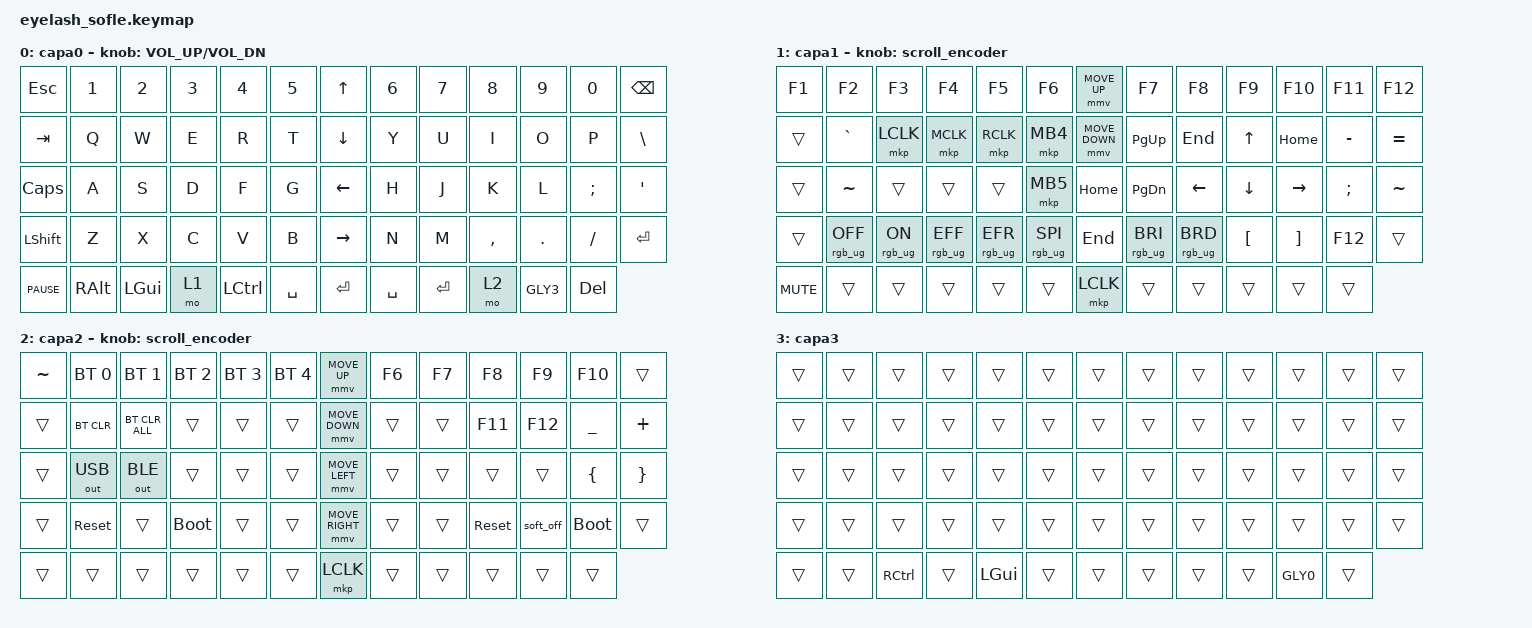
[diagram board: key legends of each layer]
#define ZMK_POINTING_DEFAULT_MOVE_VAL 1200  // 600
#define ZMK_POINTING_DEFAULT_SCRL_VAL 25   // 10

#include <input/processors.dtsi>
#include <zephyr/dt-bindings/input/input-event-codes.h>
#include <behaviors.dtsi>
#include <dt-bindings/zmk/bt.h>
#include <dt-bindings/zmk/keys.h>
#include <dt-bindings/zmk/outputs.h>
#include <dt-bindings/zmk/pointing.h>
#include <dt-bindings/zmk/rgb.h>

&mmv_input_listener { input-processors = <&zip_xy_scaler 2 1>; };

&msc_input_listener { input-processors = <&zip_scroll_scaler 2 1>; };

&msc {
    acceleration-exponent = <1>;      // 0
    time-to-max-speed-ms = <100>;       // 300
    delay-ms = <0>;                   // 0
};

&mmv {
    time-to-max-speed-ms = <500>;
    acceleration-exponent = <1>;
    trigger-period-ms = <16>;
};

/ {
    scroll_encoder: scroll_encoder {
        compatible = "zmk,behavior-sensor-rotate";
        #sensor-binding-cells = <0>;
        bindings = <&msc SCRL_DOWN>, <&msc SCRL_UP>;

        tap-ms = <100>;
    };

    behaviors {
    };

    macros {
        GLY3: GLY3 {
            compatible = "zmk,behavior-macro";
            #binding-cells = <0>;
            bindings = <&tog 3 &bt BT_SEL 2>;
            label = "GLY3";
        };

        GLY0: GL0 {
            compatible = "zmk,behavior-macro";
            #binding-cells = <0>;
            bindings = <&tog 3 &bt BT_SEL 1>;
            label = "GL0";
        };
    };

    keymap {
        compatible = "zmk,keymap";

        layer_0 {
            bindings = <
&kp ESC      &kp N1         &kp N2        &kp N3  &kp N4            &kp N5       &kp UP_ARROW     &kp N6     &kp N7     &kp N8     &kp N9   &kp N0      &kp BACKSPACE
&kp TAB      &kp Q          &kp W         &kp E   &kp R             &kp T        &kp DOWN_ARROW   &kp Y      &kp U      &kp I      &kp O    &kp P       &kp BSLH
&kp CAPS     &kp A          &kp S         &kp D   &kp F             &kp G        &kp LEFT_ARROW   &kp H      &kp J      &kp K      &kp L    &kp SEMI    &kp APOS
&kp LSHFT    &kp Z          &kp X         &kp C   &kp V             &kp B        &kp RIGHT_ARROW  &kp N      &kp M      &kp COMMA  &kp DOT  &kp FSLH    &kp ENTER
&kp C_PAUSE  &kp RIGHT_ALT  &kp LEFT_GUI  &mo 1   &kp LEFT_CONTROL  &kp SPACE    &kp ENTER        &kp SPACE  &kp ENTER  &mo 2      &GLY3    &kp DELETE
            >;

            sensor-bindings = <&inc_dec_kp C_VOLUME_UP C_VOL_DN>;
            display-name = "capa0";
            label = "capa0";
        };

        layer_1 {
            bindings = <
&kp F1      &kp F2           &kp F3          &kp F4           &kp F5           &kp F6             &mmv MOVE_UP    &kp F7           &kp F8           &kp F9            &kp F10            &kp F11        &kp F12
&trans      &kp GRAVE        &mkp LCLK       &mkp MCLK        &mkp RCLK        &mkp MB4           &mmv MOVE_DOWN  &kp PG_UP        &kp END          &kp UP            &kp HOME           &kp MINUS      &kp EQUAL
&trans      &kp TILDE        &trans          &trans           &trans           &mkp MB5           &kp HOME        &kp PG_DN        &kp LEFT         &kp DOWN          &kp RIGHT          &kp SEMICOLON  &kp TILDE
&trans      &rgb_ug RGB_OFF  &rgb_ug RGB_ON  &rgb_ug RGB_EFF  &rgb_ug RGB_EFR  &rgb_ug RGB_SPI    &kp END         &rgb_ug RGB_BRI  &rgb_ug RGB_BRD  &kp LEFT_BRACKET  &kp RIGHT_BRACKET  &kp F12        &trans
&kp C_MUTE  &trans           &trans          &trans           &trans           &trans             &mkp LCLK       &trans           &trans           &trans            &trans             &trans
            >;

            sensor-bindings = <&scroll_encoder>;
            display-name = "capa1";
            label = "capa1";
        };

        layer_2 {
            bindings = <
&kp TILDE  &bt BT_SEL 0  &bt BT_SEL 1    &bt BT_SEL 2  &bt BT_SEL 3  &bt BT_SEL 4    &mmv MOVE_UP     &kp F6  &kp F7  &kp F8      &kp F9     &kp F10      &trans
&trans     &bt BT_CLR    &bt BT_CLR_ALL  &trans        &trans        &trans          &mmv MOVE_DOWN   &trans  &trans  &kp F11     &kp F12    &kp UNDER    &kp PLUS
&trans     &out OUT_USB  &out OUT_BLE    &trans        &trans        &trans          &mmv MOVE_LEFT   &trans  &trans  &trans      &trans     &kp LBRC     &kp RBRC
&trans     &sys_reset    &trans          &bootloader   &trans        &trans          &mmv MOVE_RIGHT  &trans  &trans  &sys_reset  &soft_off  &bootloader  &trans
&trans     &trans        &trans          &trans        &trans        &trans          &mkp LCLK        &trans  &trans  &trans      &trans     &trans
            >;

            sensor-bindings = <&scroll_encoder>;
            display-name = "capa2";
            label = "capa2";
        };

        layer_3 {
            bindings = <
&trans  &trans  &trans             &trans  &trans        &trans    &trans  &trans  &trans  &trans  &trans  &trans  &trans
&trans  &trans  &trans             &trans  &trans        &trans    &trans  &trans  &trans  &trans  &trans  &trans  &trans
&trans  &trans  &trans             &trans  &trans        &trans    &trans  &trans  &trans  &trans  &trans  &trans  &trans
&trans  &trans  &trans             &trans  &trans        &trans    &trans  &trans  &trans  &trans  &trans  &trans  &trans
&trans  &trans  &kp RIGHT_CONTROL  &trans  &kp LEFT_GUI  &trans    &trans  &trans  &trans  &trans  &GLY0   &trans
            >;

            label = "capa3";
        };
    };
};
